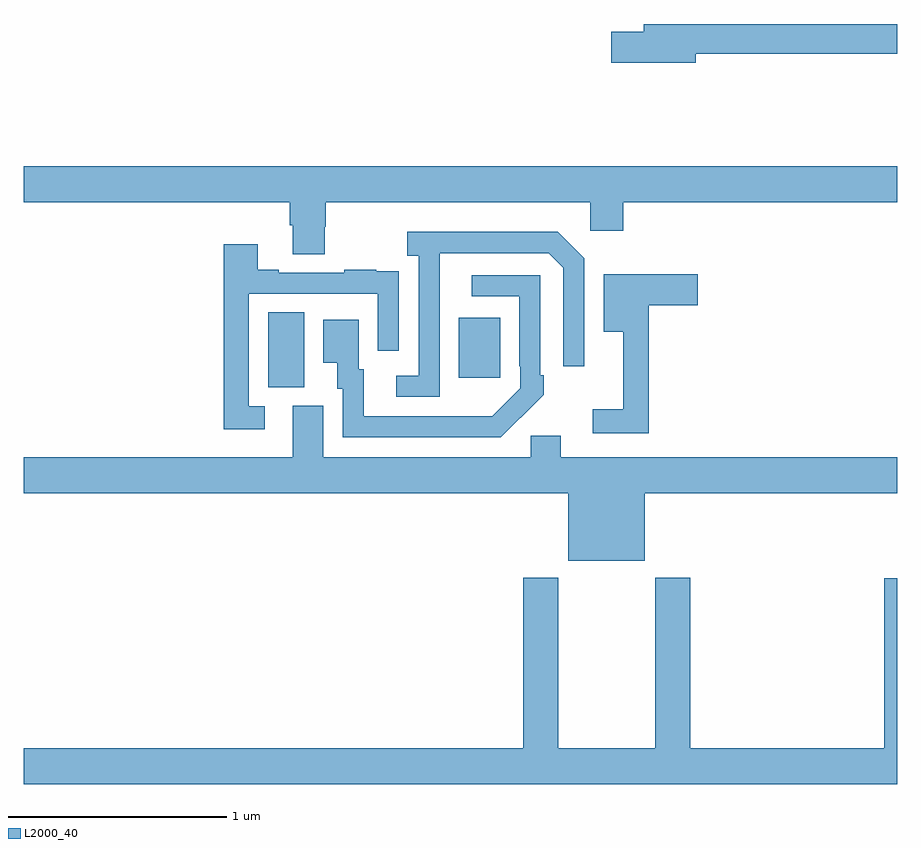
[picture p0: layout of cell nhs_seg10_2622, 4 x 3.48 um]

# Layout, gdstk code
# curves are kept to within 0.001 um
import gdstk
lib = gdstk.Library(unit=1e-6, precision=1e-09)
def R(c, l, rs):  # rectangles x0, y0, x1, y1
    for r in rs: c.add(gdstk.rectangle(r[:2], r[2:], *l))
def P(c, l, *ps):  # polygons
    for p in ps: c.add(gdstk.Polygon(p, *l))
L2000_40 = (2000, 40)

nhs_seg10_2622 = lib.new_cell('nhs_seg10_2622')
R(nhs_seg10_2622, L2000_40, [(254.12,1280.821,254.284,1281.164), (254.993,1280.865,255.181,1281.139)])
P(nhs_seg10_2622, L2000_40, [(256.078,1282.348),(257,1282.348),(257,1282.484),(255.839,1282.484),(255.839,1282.448),(255.69,1282.448),(255.69,1282.306),(256.078,1282.306)],
  [(254.379,1281.555),(254.384,1281.555),(254.384,1281.668),(255.594,1281.668),(255.594,1281.537),(255.746,1281.537),(255.746,1281.668),(257,1281.668),(257,1281.832),(253,1281.832),(253,1281.668),(254.219,1281.668),(254.219,1281.562),(254.231,1281.562),(254.231,1281.43),(254.379,1281.43)],
  [(254.904,1281.235),(254.905,1281.435),(255.405,1281.435),(255.471,1281.369),(255.471,1280.916),(255.567,1280.916),(255.567,1281.411),(255.446,1281.532),(254.757,1281.532),(254.757,1281.422),(254.808,1281.422),(254.808,1280.874),(254.706,1280.874),(254.706,1280.778),(254.904,1280.778)],
  [(254.104,1280.733),(254.031,1280.733),(254.031,1281.249),(254.622,1281.249),(254.622,1280.988),(254.718,1280.988),(254.718,1281.242),(254.717,1281.242),(254.717,1281.351),(254.615,1281.351),(254.615,1281.358),(254.467,1281.358),(254.467,1281.345),(254.167,1281.345),(254.167,1281.358),(254.071,1281.358),(254.071,1281.475),(253.915,1281.475),(253.915,1280.628),(254.104,1280.628)],
  [(255.863,1281.197),(256.087,1281.197),(256.087,1281.339),(255.656,1281.339),(255.656,1281.074),(255.746,1281.074),(255.746,1280.719),(255.606,1280.719),(255.606,1280.61),(255.863,1280.61)],
  [(255.275,1280.683),(255.276,1280.682),(255.381,1280.787),(255.381,1280.875),(255.366,1280.875),(255.366,1281.333),(255.051,1281.333),(255.051,1281.237),(255.27,1281.237),(255.27,1280.917),(255.273,1280.917),(255.273,1280.817),(255.145,1280.689),(254.557,1280.688),(254.557,1280.904),(254.533,1280.904),(254.533,1281.13),(254.372,1281.13),(254.372,1280.933),(254.435,1280.933),(254.435,1280.814),(254.46,1280.814),(254.46,1280.592),(255.184,1280.592)],
  [(255.844,1280.336),(257,1280.336),(257,1280.5),(255.46,1280.5),(255.46,1280.598),(255.321,1280.598),(255.321,1280.5),(254.371,1280.5),(254.371,1280.736),(254.231,1280.736),(254.231,1280.5),(253,1280.5),(253,1280.336),(255.494,1280.336),(255.494,1280.027),(255.844,1280.027)],
  [(257,1279.947),(256.94,1279.947),(256.94,1279.168),(256.052,1279.168),(256.052,1279.948),(255.892,1279.948),(255.892,1279.168),(255.447,1279.168),(255.447,1279.948),(255.287,1279.948),(255.287,1279.168),(253,1279.168),(253,1279.004),(257,1279.004)])

lib.write_gds('nhs_seg10_2622.gds')
